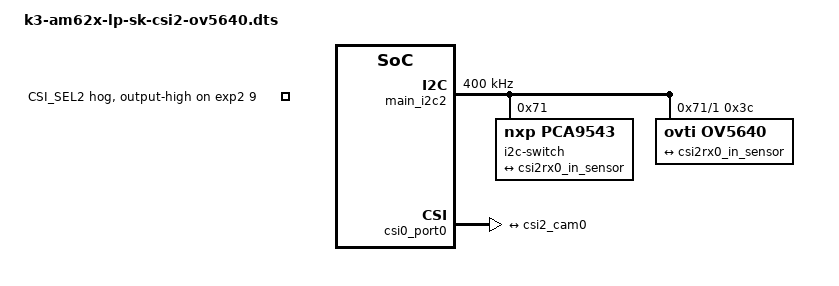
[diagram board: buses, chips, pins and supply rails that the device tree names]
// SPDX-License-Identifier: GPL-2.0
/*
 * LI OV5640 CSI module with Samtec connector
 * Copyright (C) 2022 Texas Instruments Incorporated - https://www.ti.com/
 */

/dts-v1/;
/plugin/;

#include <dt-bindings/gpio/gpio.h>

/ {
	fragment@101 {
		target-path = "/";

		__overlay__ {
			clk_ov5640_fixed: ov5640-xclk {
				compatible = "fixed-clock";
				#clock-cells = <0>;
				clock-frequency = <25000000>;
			};
		};
	};
};

&exp2 {
	p09-hog {
		/* P09 - CSI_RSTz */
		gpio-hog;
		gpios = <9 GPIO_ACTIVE_HIGH>;
		output-high;
		line-name = "CSI_SEL2";
	};
};

&main_i2c2 {
	pinctrl-names = "default";
	pinctrl-0 = <&main_i2c2_pins_default>;
	#address-cells = <1>;
	#size-cells = <0>;
	status = "okay";

	clock-frequency = <400000>;

	i2c-switch@71 {
		compatible = "nxp,pca9543";
		#address-cells = <1>;
		#size-cells = <0>;
		reg = <0x71>;

		/* CAM port */
		i2c@1 {
			#address-cells = <1>;
			#size-cells = <0>;
			reg = <1>;

			ov5640: camera@3c {
				compatible = "ovti,ov5640";
				reg = <0x3c>;

				clocks = <&clk_ov5640_fixed>;
				clock-names = "xclk";

				port {
					csi2_cam0: endpoint {
						remote-endpoint = <&csi2rx0_in_sensor>;
						clock-lanes = <0>;
						data-lanes = <1 2>;
					};
				};
			};
		};
	};
};

&csi0_port0 {
	status = "okay";

	csi2rx0_in_sensor: endpoint {
		remote-endpoint = <&csi2_cam0>;
		bus-type = <4>; /* CSI2 DPHY. */
		clock-lanes = <0>;
		data-lanes = <1 2>;
	};
};
